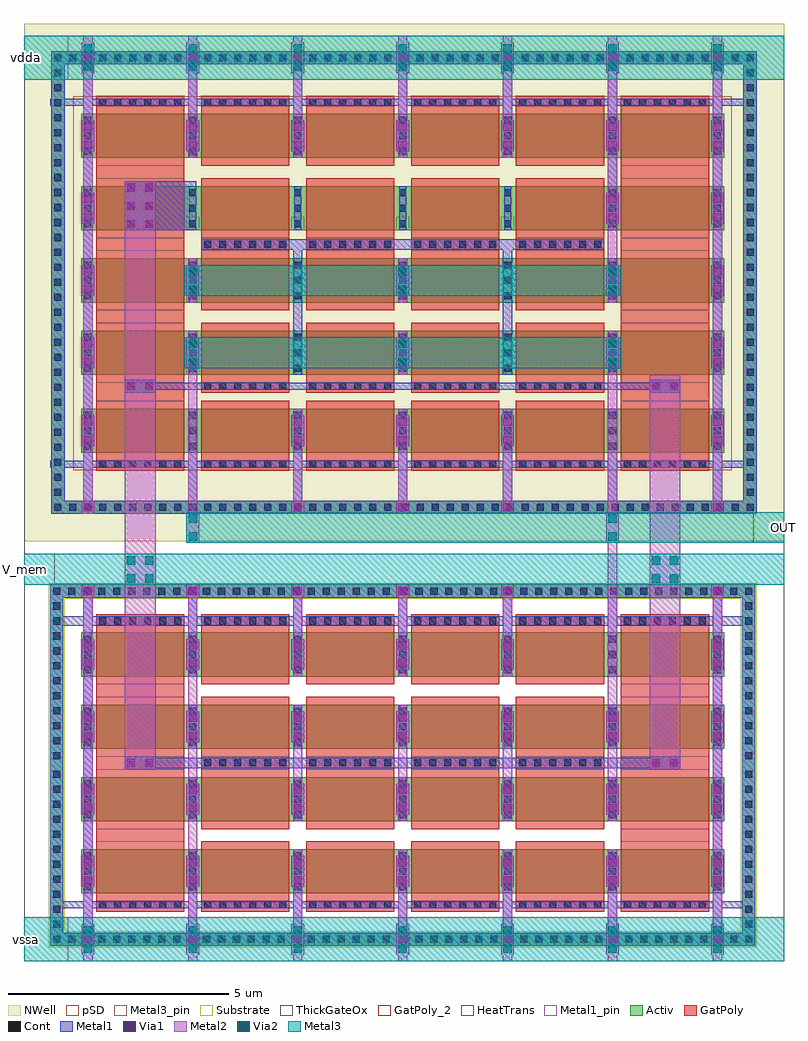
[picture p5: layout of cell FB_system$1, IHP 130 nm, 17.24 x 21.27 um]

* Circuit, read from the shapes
.subckt FB_system$1 OUT V_mem vdda vssa
XM1 vssa vssa vssa vssa sg13_hv_nmos w=1u l=2u m=14
XM2 n1 V_mem vssa vssa sg13_hv_nmos w=1u l=2u m=2
XM3 n2 V_mem n1 vssa sg13_hv_nmos w=1u l=2u m=2
XM4 n3 V_mem n2 vssa sg13_hv_nmos w=1u l=2u m=2
XM5 OUT V_mem n3 vssa sg13_hv_nmos w=1u l=2u m=2
XM6 vssa vssa OUT vssa sg13_hv_nmos w=1u l=2u m=2
XM7 vdda vdda vdda vdda sg13_hv_pmos w=1u l=2u m=15
XM8 OUT vdda vdda vdda sg13_hv_pmos w=1u l=2u m=2
XM9 V_mem vdda vdda vdda sg13_hv_pmos w=1u l=2u
XM10 n4 V_mem OUT vdda sg13_hv_pmos w=1u l=2u m=4
XM11 n4 n4 vdda vdda sg13_hv_pmos w=1u l=2u m=4
XM12 n5 n4 V_mem vdda sg13_hv_pmos w=1u l=2u
XM13 n6 n4 n5 vdda sg13_hv_pmos w=1u l=2u
XM14 n7 n4 n6 vdda sg13_hv_pmos w=1u l=2u
XM15 vdda n4 n7 vdda sg13_hv_pmos w=1u l=2u
.ends

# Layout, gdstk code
from math import pi, radians
import gdstk
lib = gdstk.Library(unit=1e-6, precision=1e-09)
def R(c, l, rs):  # rectangles x0, y0, x1, y1
    for r in rs: c.add(gdstk.rectangle(r[:2], r[2:], *l))
def A(c, l, x, y, w, h, nx, ny, dx, dy):  # array of equal rectangles
    R(c, l, [(x+i*dx, y+j*dy, x+i*dx+w, y+j*dy+h) for i in range(nx) for j in range(ny)])
def P(c, l, *ps):  # polygons
    for p in ps: c.add(gdstk.Polygon(p, *l))
Activ = (1, 0)
GatPoly = (5, 0)
GatPoly_2 = (5, 2)
Cont = (6, 0)
Metal1 = (8, 0)
Metal1_pin = (8, 2)
Metal2 = (10, 0)
pSD = (14, 0)
Via1 = (19, 0)
Via2 = (29, 0)
Metal3 = (30, 0)
Metal3_pin = (30, 2)
NWell = (31, 0)
Substrate = (40, 0)
ThickGateOx = (44, 0)
HeatTrans = (51, 0)

pmoshv_3 = lib.new_cell('pmosHV$3')
R(pmoshv_3, Activ, [(0,0,0.3,0.3), (0,0,2.68,1), (2.38,0,2.68,0.3)])
R(pmoshv_3, GatPoly, [(0.34,-0.18,2.34,1.18)])
R(pmoshv_3, GatPoly_2, [(0.34,-0.18,2.34,1.18)])
A(pmoshv_3, Cont, 0.07, 0.07, 0.16, 0.16, 1, 3, 0, 0.35)
A(pmoshv_3, Cont, 2.45, 0.07, 0.16, 0.16, 1, 3, 0, 0.35)
R(pmoshv_3, Metal1, [(0.07,0,0.23,1), (2.45,0,2.61,1)])
R(pmoshv_3, Metal1_pin, [(0.07,0,0.23,1), (2.45,0,2.61,1)])
R(pmoshv_3, pSD, [(-0.18,-0.4,2.86,1.4)])
R(pmoshv_3, NWell, [(-0.62,-0.62,3.3,1.62)])
R(pmoshv_3, Substrate, [(2.38,0,2.68,0.3)])
R(pmoshv_3, ThickGateOx, [(-0.62,-0.62,3.3,1.62)])
R(pmoshv_3, HeatTrans, [(0.34,-0.18,2.34,1.18)])
pmoshv_3.add(gdstk.Label('pmosHV', (1.34,0.5), layer=63, texttype=0))
pmoshv_3.add(gdstk.Label('pmos', (1.34,0.5), layer=51, texttype=0))

nmoshv_4 = lib.new_cell('nmosHV$4')
R(nmoshv_4, Activ, [(0,0,0.3,0.3), (0,0,2.68,1), (2.38,0,2.68,0.3)])
R(nmoshv_4, GatPoly, [(0.34,-0.18,2.34,1.18)])
R(nmoshv_4, GatPoly_2, [(0.34,-0.18,2.34,1.18)])
A(nmoshv_4, Cont, 0.07, 0.07, 0.16, 0.16, 1, 3, 0, 0.35)
A(nmoshv_4, Cont, 2.45, 0.07, 0.16, 0.16, 1, 3, 0, 0.35)
R(nmoshv_4, Metal1, [(0.07,0,0.23,1), (2.45,0,2.61,1)])
R(nmoshv_4, Metal1_pin, [(0.07,0,0.23,1), (2.45,0,2.61,1)])
R(nmoshv_4, ThickGateOx, [(-0.27,-0.52,2.95,1.52)])
R(nmoshv_4, HeatTrans, [(0.34,-0.18,2.34,1.18)])
nmoshv_4.add(gdstk.Label('nmosHV', (1.34,0.5), layer=63, texttype=0))
nmoshv_4.add(gdstk.Label('nmosHV', (1.34,0.5), layer=51, texttype=0))

pmoshv_4 = lib.new_cell('pmosHV$4')
A(pmoshv_4, Activ, 0, 0, 0.3, 0.3, 5, 1, 2.38, 0)
R(pmoshv_4, Activ, [(0,0,9.82,1)])
A(pmoshv_4, GatPoly, 0.34, -0.18, 2, 1.36, 4, 1, 2.38, 0)
R(pmoshv_4, GatPoly_2, [(0.34,-0.18,2.34,1.18)])
A(pmoshv_4, Cont, 0.07, 0.07, 0.16, 0.16, 5, 3, 2.38, 0.35)
A(pmoshv_4, Metal1, 0.07, 0, 0.16, 1, 5, 1, 2.38, 0)
R(pmoshv_4, Metal1_pin, [(0.07,0,0.23,1), (2.45,0,2.61,1)])
R(pmoshv_4, pSD, [(-0.18,-0.4,10,1.4)])
R(pmoshv_4, NWell, [(-0.62,-0.62,10.44,1.62)])
R(pmoshv_4, Substrate, [(9.52,0,9.82,0.3)])
R(pmoshv_4, ThickGateOx, [(-0.62,-0.62,10.44,1.62)])
A(pmoshv_4, HeatTrans, 0.34, -0.18, 2, 1.36, 4, 1, 2.38, 0)
pmoshv_4.add(gdstk.Label('pmosHV', (1.34,0.5), layer=63, texttype=0))
pmoshv_4.add(gdstk.Label('pmos', (1.34,0.5), layer=51, texttype=0))
pmoshv_4.add(gdstk.Label('pmos', (3.72,0.5), layer=51, texttype=0))
pmoshv_4.add(gdstk.Label('pmos', (6.1,0.5), layer=51, texttype=0))
pmoshv_4.add(gdstk.Label('pmos', (8.48,0.5), layer=51, texttype=0))

via_stack_3 = lib.new_cell('via_stack$3')
R(via_stack_3, Metal1, [(-0.145,-0.35,0.145,0.35)])
R(via_stack_3, Metal2, [(-0.145,-0.35,0.145,0.35)])
R(via_stack_3, Via1, [(-0.095,-0.3,0.095,-0.11), (-0.095,0.11,0.095,0.3)])

pmoshv_5 = lib.new_cell('pmosHV$5')
A(pmoshv_5, Activ, 0, 0, 0.3, 0.3, 7, 1, 2.38, 0)
R(pmoshv_5, Activ, [(0,0,14.58,1)])
A(pmoshv_5, GatPoly, 0.34, -0.18, 2, 1.36, 6, 1, 2.38, 0)
R(pmoshv_5, GatPoly_2, [(0.34,-0.18,2.34,1.18)])
A(pmoshv_5, Cont, 0.07, 0.07, 0.16, 0.16, 7, 3, 2.38, 0.35)
A(pmoshv_5, Metal1, 0.07, 0, 0.16, 1, 7, 1, 2.38, 0)
R(pmoshv_5, Metal1_pin, [(0.07,0,0.23,1), (2.45,0,2.61,1)])
R(pmoshv_5, pSD, [(-0.18,-0.4,14.76,1.4)])
R(pmoshv_5, NWell, [(-0.62,-0.62,15.2,1.62)])
R(pmoshv_5, Substrate, [(14.28,0,14.58,0.3)])
R(pmoshv_5, ThickGateOx, [(-0.62,-0.62,15.2,1.62)])
A(pmoshv_5, HeatTrans, 0.34, -0.18, 2, 1.36, 6, 1, 2.38, 0)
pmoshv_5.add(gdstk.Label('pmosHV', (1.34,0.5), layer=63, texttype=0))
pmoshv_5.add(gdstk.Label('pmos', (1.34,0.5), layer=51, texttype=0))
pmoshv_5.add(gdstk.Label('pmos', (3.72,0.5), layer=51, texttype=0))
pmoshv_5.add(gdstk.Label('pmos', (6.1,0.5), layer=51, texttype=0))
pmoshv_5.add(gdstk.Label('pmos', (8.48,0.5), layer=51, texttype=0))
pmoshv_5.add(gdstk.Label('pmos', (10.86,0.5), layer=51, texttype=0))
pmoshv_5.add(gdstk.Label('pmos', (13.24,0.5), layer=51, texttype=0))

nmoshv_5 = lib.new_cell('nmosHV$5')
A(nmoshv_5, Activ, 0, 0, 0.3, 0.3, 7, 1, 2.38, 0)
R(nmoshv_5, Activ, [(0,0,14.58,1)])
A(nmoshv_5, GatPoly, 0.34, -0.18, 2, 1.36, 6, 1, 2.38, 0)
R(nmoshv_5, GatPoly_2, [(0.34,-0.18,2.34,1.18)])
A(nmoshv_5, Cont, 0.07, 0.07, 0.16, 0.16, 7, 3, 2.38, 0.35)
A(nmoshv_5, Metal1, 0.07, 0, 0.16, 1, 7, 1, 2.38, 0)
R(nmoshv_5, Metal1_pin, [(0.07,0,0.23,1), (2.45,0,2.61,1)])
R(nmoshv_5, ThickGateOx, [(-0.27,-0.52,14.85,1.52)])
A(nmoshv_5, HeatTrans, 0.34, -0.18, 2, 1.36, 6, 1, 2.38, 0)
nmoshv_5.add(gdstk.Label('nmosHV', (1.34,0.5), layer=63, texttype=0))
nmoshv_5.add(gdstk.Label('nmosHV', (1.34,0.5), layer=51, texttype=0))
nmoshv_5.add(gdstk.Label('nmosHV', (3.72,0.5), layer=51, texttype=0))
nmoshv_5.add(gdstk.Label('nmosHV', (6.1,0.5), layer=51, texttype=0))
nmoshv_5.add(gdstk.Label('nmosHV', (8.48,0.5), layer=51, texttype=0))
nmoshv_5.add(gdstk.Label('nmosHV', (10.86,0.5), layer=51, texttype=0))
nmoshv_5.add(gdstk.Label('nmosHV', (13.24,0.5), layer=51, texttype=0))

via_stack = lib.new_cell('via_stack')
R(via_stack, Metal2, [(-0.145,-0.35,0.145,0.35)])
R(via_stack, Via2, [(-0.095,-0.3,0.095,-0.11), (-0.095,0.11,0.095,0.3)])
R(via_stack, Metal3, [(-0.145,-0.35,0.145,0.35)])

via_stack_1 = lib.new_cell('via_stack$1')
R(via_stack_1, Metal1, [(-0.145,-0.145,0.145,0.145)])
R(via_stack_1, Metal2, [(-0.145,-0.145,0.145,0.145)])
R(via_stack_1, Via1, [(-0.095,-0.095,0.095,0.095)])

guard_ring_2 = lib.new_cell('guard_ring$2')
R(guard_ring_2, Activ, [(-8,-4.95,-7.7,4.95), (7.7,-4.95,8,4.95), (-8,4.95,8,5.25)])
P(guard_ring_2, Activ, [(-8,-5.25),(-8,4.95),(-7.7,4.95),(-7.7,-4.95),(7.7,-4.95),(7.7,4.95),(-8,4.95),(-8,5.25),(8,5.25),(8,-5.25)])
A(guard_ring_2, Cont, -7.93, -5.18, 0.16, 0.16, 23, 2, 0.34, 10.2)
A(guard_ring_2, Cont, -0.05, -5.18, 0.16, 0.16, 24, 2, 0.34, 10.2)
A(guard_ring_2, Cont, -7.93, -4.84, 0.16, 0.16, 1, 29, 0, 0.34)
A(guard_ring_2, Cont, 7.77, -4.84, 0.16, 0.16, 1, 29, 0, 0.34)
R(guard_ring_2, Metal1, [(-8,-5.25,8,-4.95), (-8,-4.95,-7.7,4.95), (7.7,-4.95,8,4.95), (-8,4.95,8,5.25)])
R(guard_ring_2, NWell, [(-8.35,-5.6,8.35,5.6)])

guard_ring_3 = lib.new_cell('guard_ring$3')
R(guard_ring_3, Activ, [(-8,-3.8,-7.7,3.8), (7.7,-3.8,8,3.8), (-8,3.8,8,4.1)])
P(guard_ring_3, Activ, [(-8,-4.1),(-8,3.8),(-7.7,3.8),(-7.7,-3.8),(7.7,-3.8),(7.7,3.8),(-8,3.8),(-8,4.1),(8,4.1),(8,-4.1)])
A(guard_ring_3, Cont, -7.93, -4.03, 0.16, 0.16, 23, 2, 0.34, 7.9)
A(guard_ring_3, Cont, -0.05, -4.03, 0.16, 0.16, 24, 2, 0.34, 7.9)
A(guard_ring_3, Cont, -7.93, -3.69, 0.16, 0.16, 1, 11, 0, 0.34)
A(guard_ring_3, Cont, 7.77, -3.69, 0.16, 0.16, 1, 11, 0, 0.34)
A(guard_ring_3, Cont, -7.93, 0.13, 0.16, 0.16, 1, 11, 0, 0.34)
A(guard_ring_3, Cont, 7.77, 0.13, 0.16, 0.16, 1, 11, 0, 0.34)
R(guard_ring_3, Metal1, [(-8,-4.1,8,-3.8), (-8,-3.8,-7.7,3.8), (7.7,-3.8,8,3.8), (-8,3.8,8,4.1)])
R(guard_ring_3, pSD, [(-8.03,-3.77,-7.67,3.77), (7.67,-3.77,8.03,3.77), (-8.03,3.77,8.03,4.13)])
P(guard_ring_3, pSD, [(-8.03,-4.13),(-8.03,3.77),(-7.67,3.77),(-7.67,-3.77),(7.67,-3.77),(7.67,3.77),(-8.03,3.77),(-8.03,4.13),(8.03,4.13),(8.03,-4.13)])
R(guard_ring_3, Substrate, [(-8.03,-3.77,-7.67,3.77), (7.67,-3.77,8.03,3.77), (-8.03,3.77,8.03,4.13)])
P(guard_ring_3, Substrate, [(-8.03,-4.13),(-8.03,3.77),(-7.67,3.77),(-7.67,-3.77),(7.67,-3.77),(7.67,3.77),(-8.03,3.77),(-8.03,4.13),(8.03,4.13),(8.03,-4.13)])

via_stack_5 = lib.new_cell('via_stack$5')
R(via_stack_5, Metal1, [(-0.35,-0.145,0.35,0.145)])
R(via_stack_5, Metal2, [(-0.35,-0.145,0.35,0.145)])
R(via_stack_5, Via1, [(-0.3,-0.095,-0.11,0.095), (0.11,-0.095,0.3,0.095)])

via_stack_19_1 = lib.new_cell('via_stack$19$1')
R(via_stack_19_1, GatPoly, [(-1,-0.15,1,0.15)])
A(via_stack_19_1, Cont, -0.93, -0.08, 0.16, 0.16, 6, 1, 0.34, 0)
R(via_stack_19_1, Metal1, [(-0.98,-0.08,0.98,0.08)])

via_stack_21 = lib.new_cell('via_stack$21')
R(via_stack_21, Metal1, [(-0.35,-0.555,0.35,0.555)])
R(via_stack_21, Metal2, [(-0.35,-0.555,0.35,0.555)])
A(via_stack_21, Via1, -0.3, -0.505, 0.19, 0.19, 1, 3, 0, 0.41)
A(via_stack_21, Via1, 0.11, -0.505, 0.19, 0.19, 1, 3, 0, 0.41)

via_stack_32_1 = lib.new_cell('via_stack$32$1')
R(via_stack_32_1, Metal2, [(-0.35,-0.35,0.35,0.35)])
R(via_stack_32_1, Via2, [(-0.3,-0.3,-0.11,-0.11), (0.11,-0.3,0.3,-0.11), (-0.3,0.11,-0.11,0.3), (0.11,0.11,0.3,0.3)])
R(via_stack_32_1, Metal3, [(-0.35,-0.35,0.35,0.35)])

fb_system_1 = lib.new_cell('FB_system$1')
A(fb_system_1, GatPoly, 4.02, 2.5, 2, 3, 4, 2, 2.38, 11.765)
R(fb_system_1, GatPoly, [(1.64,0.86,3.64,7.14), (13.54,0.86,15.54,7.14), (1.64,10.625,3.64,19.135), (13.54,10.625,15.54,19.135)])
A(fb_system_1, Metal1, 1.345, 1.04, 0.21, 1, 7, 3, 2.38, 1.64)
A(fb_system_1, Metal1, 1.345, 5.96, 0.21, 1, 4, 1, 2.38, 0)
A(fb_system_1, Metal1, 6.105, 11.035, 0.21, 1, 3, 1, 2.38, 0)
A(fb_system_1, Metal1, 1.345, 12.805, 0.21, 1, 1, 3, 0, 1.64)
A(fb_system_1, Metal1, 15.625, 12.805, 0.21, 1, 1, 3, 0, 1.64)
A(fb_system_1, Metal1, 3.725, 14.445, 0.21, 1, 3, 1, 4.76, 0)
A(fb_system_1, Metal1, 1.345, 17.725, 0.21, 1, 7, 1, 2.38, 0)
R(fb_system_1, Metal1, [(8.485,5.96,8.695,6.96), (10.865,5.96,11.075,6.96), (10.865,5.96,11.075,6.96), (15.625,5.96,15.835,6.96), (15.625,5.96,15.835,6.96), (1.345,11.035,1.555,12.035), (15.625,11.035,15.835,12.035), (3.725,12.805,3.935,13.805), (8.485,12.805,8.695,13.805), (8.485,12.805,8.695,13.805), (13.245,12.805,13.455,13.805), (2.285,16.085,3.91,17.195), (13.245,16.085,13.455,17.085)])
A(fb_system_1, Metal2, 3.725, 14.445, 0.21, 1, 3, 1, 4.76, 0)
R(fb_system_1, Metal2, [(8.485,12.805,8.695,13.805)])
R(fb_system_1, Metal3_pin, [(0,-0.5,1,0.5), (0,8.04,0.7,8.74), (16.54,8.99,17.24,9.69), (0,19.5,1,20.5)])
R(fb_system_1, NWell, [(0,9.025,17.24,20.77)])
R(fb_system_1, ThickGateOx, [(0,-0.5,17.24,20.5)])
fb_system_1.add(gdstk.FlexPath([(2.285,4),(14.89,4)], 0.24, ends="flush", simple_path=True, layer=8, datatype=0))  # Metal1
fb_system_1.add(gdstk.FlexPath([(4.02,15.765),(13.16,15.765)], 0.24, ends="flush", simple_path=True, layer=8, datatype=0))  # Metal1
fb_system_1.add(gdstk.FlexPath([(2.285,12.545),(14.89,12.545)], 0.16, ends="flush", simple_path=True, layer=8, datatype=0))  # Metal1
fb_system_1.add(gdstk.FlexPath([(0.59,7.22),(16.59,7.22)], 0.21, ends="flush", simple_path=True, layer=8, datatype=0))  # Metal1
fb_system_1.add(gdstk.FlexPath([(0.59,0.78),(16.59,0.78)], 0.16, ends="flush", simple_path=True, layer=8, datatype=0))  # Metal1
fb_system_1.add(gdstk.FlexPath([(15.73,8.05),(15.73,5.96)], 0.21, ends="flush", simple_path=True, layer=8, datatype=0))  # Metal1
fb_system_1.add(gdstk.FlexPath([(3.83,5.96),(3.83,8.05)], 0.21, ends="flush", simple_path=True, layer=8, datatype=0))  # Metal1
fb_system_1.add(gdstk.FlexPath([(6.21,5.96),(6.21,8.05)], 0.21, ends="flush", simple_path=True, layer=8, datatype=0))  # Metal1
fb_system_1.add(gdstk.FlexPath([(8.59,5.96),(8.59,8.05)], 0.21, ends="flush", simple_path=True, layer=8, datatype=0))  # Metal1
fb_system_1.add(gdstk.FlexPath([(10.97,5.96),(10.97,8.05)], 0.21, ends="flush", simple_path=True, layer=8, datatype=0))  # Metal1
fb_system_1.add(gdstk.FlexPath([(1.45,2.04),(1.45,0)], 0.21, ends="flush", simple_path=True, layer=8, datatype=0))  # Metal1
fb_system_1.add(gdstk.FlexPath([(1.45,8.05),(1.45,-0.15)], 0.21, ends="flush", simple_path=True, layer=8, datatype=0))  # Metal1
fb_system_1.add(gdstk.FlexPath([(15.73,2.04),(15.73,0)], 0.21, ends="flush", simple_path=True, layer=8, datatype=0))  # Metal1
fb_system_1.add(gdstk.FlexPath([(3.83,0),(3.83,2.04)], 0.21, ends="flush", simple_path=True, layer=8, datatype=0))  # Metal1
fb_system_1.add(gdstk.FlexPath([(6.21,0),(6.21,2.04)], 0.21, ends="flush", simple_path=True, layer=8, datatype=0))  # Metal1
fb_system_1.add(gdstk.FlexPath([(8.59,0),(8.59,2.04)], 0.21, ends="flush", simple_path=True, layer=8, datatype=0))  # Metal1
fb_system_1.add(gdstk.FlexPath([(10.97,0),(10.97,2.04)], 0.21, ends="flush", simple_path=True, layer=8, datatype=0))  # Metal1
fb_system_1.add(gdstk.FlexPath([(13.35,0),(13.35,2.04)], 0.21, ends="flush", simple_path=True, layer=8, datatype=0))  # Metal1
fb_system_1.add(gdstk.FlexPath([(8.59,0),(8.59,2.04)], 0.21, ends="flush", simple_path=True, layer=8, datatype=0))  # Metal1
fb_system_1.add(gdstk.FlexPath([(6.21,0),(6.21,2.04)], 0.21, ends="flush", simple_path=True, layer=8, datatype=0))  # Metal1
fb_system_1.add(gdstk.FlexPath([(3.83,0),(3.83,2.04)], 0.21, ends="flush", simple_path=True, layer=8, datatype=0))  # Metal1
fb_system_1.add(gdstk.FlexPath([(8.59,5.96),(8.59,8.05)], 0.21, ends="flush", simple_path=True, layer=8, datatype=0))  # Metal1
fb_system_1.add(gdstk.FlexPath([(10.97,5.96),(10.97,8.05)], 0.21, ends="flush", simple_path=True, layer=8, datatype=0))  # Metal1
fb_system_1.add(gdstk.FlexPath([(13.35,5.96),(13.35,8.05)], 0.21, ends="flush", simple_path=True, layer=8, datatype=0))  # Metal1
fb_system_1.add(gdstk.FlexPath([(15.73,-0.15),(15.73,8.05)], 0.21, ends="flush", simple_path=True, layer=8, datatype=0))  # Metal1
fb_system_1.add(gdstk.FlexPath([(6.21,12.805),(6.21,15.885)], 0.21, ends="flush", simple_path=True, layer=8, datatype=0))  # Metal1
fb_system_1.add(gdstk.FlexPath([(10.97,12.805),(10.97,15.885)], 0.21, ends="flush", simple_path=True, layer=8, datatype=0))  # Metal1
fb_system_1.add(gdstk.FlexPath([(15.73,9.65),(15.73,20.15)], 0.21, ends="flush", simple_path=True, layer=8, datatype=0))  # Metal1
fb_system_1.add(gdstk.FlexPath([(1.45,9.65),(1.45,20.15)], 0.21, ends="flush", simple_path=True, layer=8, datatype=0))  # Metal1
fb_system_1.add(gdstk.FlexPath([(10.97,12.035),(10.97,9.65)], 0.21, ends="flush", simple_path=True, layer=8, datatype=0))  # Metal1
fb_system_1.add(gdstk.FlexPath([(8.59,12.035),(8.59,9.65)], 0.21, ends="flush", simple_path=True, layer=8, datatype=0))  # Metal1
fb_system_1.add(gdstk.FlexPath([(6.21,12.035),(6.21,9.65)], 0.21, ends="flush", simple_path=True, layer=8, datatype=0))  # Metal1
fb_system_1.add(gdstk.FlexPath([(3.83,12.035),(3.83,9.65)], 0.21, ends="flush", simple_path=True, layer=8, datatype=0))  # Metal1
fb_system_1.add(gdstk.FlexPath([(13.35,12.035),(13.35,9.65)], 0.21, ends="flush", simple_path=True, layer=8, datatype=0))  # Metal1
fb_system_1.add(gdstk.FlexPath([(3.83,17.725),(3.83,20.15)], 0.21, ends="flush", simple_path=True, layer=8, datatype=0))  # Metal1
fb_system_1.add(gdstk.FlexPath([(6.21,17.725),(6.21,20.15)], 0.21, ends="flush", simple_path=True, layer=8, datatype=0))  # Metal1
fb_system_1.add(gdstk.FlexPath([(8.59,17.725),(8.59,20.15)], 0.21, ends="flush", simple_path=True, layer=8, datatype=0))  # Metal1
fb_system_1.add(gdstk.FlexPath([(10.97,17.725),(10.97,20.15)], 0.21, ends="flush", simple_path=True, layer=8, datatype=0))  # Metal1
fb_system_1.add(gdstk.FlexPath([(13.35,16.085),(13.35,20.15)], 0.21, ends="flush", simple_path=True, layer=8, datatype=0))  # Metal1
fb_system_1.add(gdstk.FlexPath([(0.59,18.985),(16.59,18.985)], 0.16, ends="flush", simple_path=True, layer=8, datatype=0))  # Metal1
fb_system_1.add(gdstk.FlexPath([(0.59,10.775),(16.59,10.775)], 0.16, ends="flush", simple_path=True, layer=8, datatype=0))  # Metal1
fb_system_1.add(gdstk.FlexPath([(6.21,5.32),(6.21,2.68)], 0.21, ends="flush", simple_path=True, layer=10, datatype=0))  # Metal2
fb_system_1.add(gdstk.FlexPath([(3.83,5.32),(3.83,2.68)], 0.21, ends="flush", simple_path=True, layer=10, datatype=0))  # Metal2
fb_system_1.add(gdstk.FlexPath([(8.59,5.32),(8.59,2.68)], 0.21, ends="flush", simple_path=True, layer=10, datatype=0))  # Metal2
fb_system_1.add(gdstk.FlexPath([(10.97,5.32),(10.97,2.68)], 0.21, ends="flush", simple_path=True, layer=10, datatype=0))  # Metal2
fb_system_1.add(gdstk.FlexPath([(1.45,8.05),(1.45,-0.5)], 0.21, ends="flush", simple_path=True, layer=10, datatype=0))  # Metal2
fb_system_1.add(gdstk.FlexPath([(15.73,8.05),(15.73,-0.5)], 0.21, ends="flush", simple_path=True, layer=10, datatype=0))  # Metal2
fb_system_1.add(gdstk.FlexPath([(13.35,2.04),(13.35,-0.5)], 0.21, ends="flush", simple_path=True, layer=10, datatype=0))  # Metal2
fb_system_1.add(gdstk.FlexPath([(10.97,2.04),(10.97,-0.5)], 0.21, ends="flush", simple_path=True, layer=10, datatype=0))  # Metal2
fb_system_1.add(gdstk.FlexPath([(8.59,2.04),(8.59,-0.5)], 0.21, ends="flush", simple_path=True, layer=10, datatype=0))  # Metal2
fb_system_1.add(gdstk.FlexPath([(6.21,2.04),(6.21,-0.5)], 0.21, ends="flush", simple_path=True, layer=10, datatype=0))  # Metal2
fb_system_1.add(gdstk.FlexPath([(3.83,2.04),(3.83,-0.5)], 0.21, ends="flush", simple_path=True, layer=10, datatype=0))  # Metal2
fb_system_1.add(gdstk.FlexPath([(3.83,8.05),(3.83,-0.5)], 0.21, ends="flush", simple_path=True, layer=10, datatype=0))  # Metal2
fb_system_1.add(gdstk.FlexPath([(6.21,5.96),(6.21,8.05)], 0.21, ends="flush", simple_path=True, layer=10, datatype=0))  # Metal2
fb_system_1.add(gdstk.FlexPath([(8.59,5.96),(8.59,8.05)], 0.21, ends="flush", simple_path=True, layer=10, datatype=0))  # Metal2
fb_system_1.add(gdstk.FlexPath([(10.97,5.96),(10.97,8.05)], 0.21, ends="flush", simple_path=True, layer=10, datatype=0))  # Metal2
fb_system_1.add(gdstk.FlexPath([(13.35,13.805),(13.35,2.68)], 0.21, ends="flush", simple_path=True, layer=10, datatype=0))  # Metal2
fb_system_1.add(gdstk.FlexPath([(2.635,3.88),(2.635,17.195)], 0.7, ends="flush", simple_path=True, layer=10, datatype=0))  # Metal2
fb_system_1.add(gdstk.FlexPath([(14.54,3.88),(14.54,12.805)], 0.7, ends="flush", simple_path=True, layer=10, datatype=0))  # Metal2
fb_system_1.add(gdstk.FlexPath([(3.83,13.805),(3.83,8.99)], 0.21, ends="flush", simple_path=True, layer=10, datatype=0))  # Metal2
fb_system_1.add(gdstk.FlexPath([(3.83,17.725),(3.83,20.5)], 0.21, ends="flush", simple_path=True, layer=10, datatype=0))  # Metal2
fb_system_1.add(gdstk.FlexPath([(6.21,17.725),(6.21,20.5)], 0.21, ends="flush", simple_path=True, layer=10, datatype=0))  # Metal2
fb_system_1.add(gdstk.FlexPath([(8.59,17.725),(8.59,20.5)], 0.21, ends="flush", simple_path=True, layer=10, datatype=0))  # Metal2
fb_system_1.add(gdstk.FlexPath([(10.97,17.725),(10.97,20.5)], 0.21, ends="flush", simple_path=True, layer=10, datatype=0))  # Metal2
fb_system_1.add(gdstk.FlexPath([(15.73,9.65),(15.73,20.5)], 0.21, ends="flush", simple_path=True, layer=10, datatype=0))  # Metal2
fb_system_1.add(gdstk.FlexPath([(1.45,9.65),(1.45,20.5)], 0.21, ends="flush", simple_path=True, layer=10, datatype=0))  # Metal2
fb_system_1.add(gdstk.FlexPath([(10.97,12.035),(10.97,9.65)], 0.21, ends="flush", simple_path=True, layer=10, datatype=0))  # Metal2
fb_system_1.add(gdstk.FlexPath([(8.59,12.035),(8.59,9.65)], 0.21, ends="flush", simple_path=True, layer=10, datatype=0))  # Metal2
fb_system_1.add(gdstk.FlexPath([(6.21,12.035),(6.21,9.65)], 0.21, ends="flush", simple_path=True, layer=10, datatype=0))  # Metal2
fb_system_1.add(gdstk.FlexPath([(13.35,14.445),(13.35,20.5)], 0.21, ends="flush", simple_path=True, layer=10, datatype=0))  # Metal2
fb_system_1.add(gdstk.FlexPath([(17.24,8.39),(0,8.39)], 0.7, ends="flush", simple_path=True, layer=30, datatype=0))  # Metal3
fb_system_1.add(gdstk.FlexPath([(3.725,9.34),(17.24,9.34)], 0.7, ends="flush", simple_path=True, layer=30, datatype=0))  # Metal3
fb_system_1.add(gdstk.FlexPath([(3.64,14.945),(13.54,14.945)], 0.7, ends="flush", simple_path=True, layer=30, datatype=0))  # Metal3
fb_system_1.add(gdstk.FlexPath([(3.64,13.305),(13.54,13.305)], 0.7, ends="flush", simple_path=True, layer=30, datatype=0))  # Metal3
fb_system_1.add(gdstk.FlexPath([(0,0),(17.24,0)], 1, ends="flush", simple_path=True, layer=30, datatype=0))  # Metal3
fb_system_1.add(gdstk.FlexPath([(0,20),(17.24,20)], 1, ends="flush", simple_path=True, layer=30, datatype=0))  # Metal3
fb_system_1.add(gdstk.Reference(pmoshv_3, (6.06,16.085)))
fb_system_1.add(gdstk.Reference(pmoshv_3, (8.44,16.085)))
fb_system_1.add(gdstk.Reference(nmoshv_4, (6.06,4.32)))
fb_system_1.add(gdstk.Reference(nmoshv_4, (8.44,4.32)))
fb_system_1.add(gdstk.Reference(nmoshv_4, (6.06,2.68)))
fb_system_1.add(gdstk.Reference(nmoshv_4, (8.44,2.68)))
fb_system_1.add(gdstk.Reference(pmoshv_4, (3.68,12.805)))
fb_system_1.add(gdstk.Reference(via_stack_3, (8.59,3.18)))
fb_system_1.add(gdstk.Reference(via_stack_3, (8.59,4.82)))
fb_system_1.add(gdstk.Reference(pmoshv_5, (1.3,11.035)))
fb_system_1.add(gdstk.Reference(pmoshv_5, (1.3,17.725)))
fb_system_1.add(gdstk.Reference(pmoshv_4, (3.68,14.445)))
fb_system_1.add(gdstk.Reference(nmoshv_5, (1.3,5.96)))
fb_system_1.add(gdstk.Reference(nmoshv_5, (1.3,1.04)))
fb_system_1.add(gdstk.Reference(via_stack_3, (8.59,1.54)))
fb_system_1.add(gdstk.Reference(via_stack, (8.59,0)))
fb_system_1.add(gdstk.Reference(via_stack_1, (8.59,0), rotation=pi/2))
fb_system_1.add(gdstk.Reference(via_stack_3, (8.59,6.46)))
fb_system_1.add(gdstk.Reference(via_stack_1, (8.59,7.9), rotation=pi/2))
fb_system_1.add(gdstk.Reference(via_stack_3, (8.59,13.305)))
fb_system_1.add(gdstk.Reference(via_stack, (8.59,13.305)))
fb_system_1.add(gdstk.Reference(via_stack_3, (8.59,13.305)))
fb_system_1.add(gdstk.Reference(via_stack, (8.59,14.945)))
fb_system_1.add(gdstk.Reference(via_stack_3, (8.59,14.945)))
fb_system_1.add(gdstk.Reference(via_stack, (8.59,20)))
fb_system_1.add(gdstk.Reference(via_stack_1, (8.59,20), rotation=pi/2))
fb_system_1.add(gdstk.Reference(via_stack_3, (8.59,18.225)))
fb_system_1.add(gdstk.Reference(via_stack_3, (8.59,11.535)))
fb_system_1.add(gdstk.Reference(via_stack_1, (8.59,9.8), rotation=pi/2))
r = gdstk.Reference(guard_ring_2, (8.62,14.9)); r.repetition = gdstk.Repetition(1, 1, v1=(0,0), v2=(0,0)); fb_system_1.add(r)
r = gdstk.Reference(guard_ring_3, (8.59,3.95)); r.repetition = gdstk.Repetition(1, 1, v1=(0,0), v2=(0,0)); fb_system_1.add(r)
fb_system_1.add(gdstk.Reference(via_stack_5, (14.54,12.545)))
fb_system_1.add(gdstk.Reference(via_stack_19_1, (9.78,15.765)))
fb_system_1.add(gdstk.Reference(via_stack_3, (13.35,14.945)))
fb_system_1.add(gdstk.Reference(pmoshv_3, (10.82,16.085)))
fb_system_1.add(gdstk.Reference(via_stack, (13.35,14.945)))
fb_system_1.add(gdstk.Reference(pmoshv_3, (13.2,12.805)))
fb_system_1.add(gdstk.Reference(via_stack, (15.73,20)))
fb_system_1.add(gdstk.Reference(via_stack_1, (15.73,20), rotation=pi/2))
fb_system_1.add(gdstk.Reference(pmoshv_3, (13.2,14.445)))
fb_system_1.add(gdstk.Reference(pmoshv_3, (13.2,16.085)))
fb_system_1.add(gdstk.Reference(via_stack_19_1, (9.78,12.545)))
fb_system_1.add(gdstk.Reference(via_stack, (10.97,20)))
fb_system_1.add(gdstk.Reference(via_stack_1, (10.97,20), rotation=pi/2))
fb_system_1.add(gdstk.Reference(via_stack_3, (10.97,18.225)))
fb_system_1.add(gdstk.Reference(via_stack, (13.35,20)))
fb_system_1.add(gdstk.Reference(via_stack_1, (13.35,20), rotation=pi/2))
fb_system_1.add(gdstk.Reference(via_stack_3, (13.35,18.225)))
fb_system_1.add(gdstk.Reference(via_stack_3, (15.73,18.225)))
fb_system_1.add(gdstk.Reference(via_stack_3, (15.73,16.585)))
fb_system_1.add(gdstk.Reference(via_stack_3, (15.73,14.945)))
fb_system_1.add(gdstk.Reference(via_stack_3, (15.73,13.305)))
fb_system_1.add(gdstk.Reference(via_stack_3, (13.35,16.585)))
fb_system_1.add(gdstk.Reference(via_stack_3, (15.73,11.535)))
fb_system_1.add(gdstk.Reference(via_stack_3, (10.97,11.535)))
fb_system_1.add(gdstk.Reference(via_stack_3, (13.35,13.305)))
fb_system_1.add(gdstk.Reference(via_stack_19_1, (12.16,12.545)))
fb_system_1.add(gdstk.Reference(via_stack_19_1, (12.16,18.985)))
fb_system_1.add(gdstk.Reference(via_stack_19_1, (14.54,18.985)))
fb_system_1.add(gdstk.Reference(via_stack_19_1, (9.78,18.985)))
fb_system_1.add(gdstk.Reference(via_stack_19_1, (12.16,10.775)))
fb_system_1.add(gdstk.Reference(via_stack_19_1, (14.54,10.775)))
fb_system_1.add(gdstk.Reference(via_stack_19_1, (9.78,10.775)))
fb_system_1.add(gdstk.Reference(via_stack_19_1, (12.16,15.765)))
fb_system_1.add(gdstk.Reference(via_stack, (13.35,13.305)))
fb_system_1.add(gdstk.Reference(via_stack_3, (3.83,18.225)))
fb_system_1.add(gdstk.Reference(via_stack, (3.83,14.945)))
fb_system_1.add(gdstk.Reference(via_stack_19_1, (5.02,12.545)))
fb_system_1.add(gdstk.Reference(via_stack_3, (3.83,14.945)))
fb_system_1.add(gdstk.Reference(via_stack, (1.45,20)))
fb_system_1.add(gdstk.Reference(pmoshv_3, (1.3,12.805)))
fb_system_1.add(gdstk.Reference(via_stack_3, (3.83,13.305)))
fb_system_1.add(gdstk.Reference(pmoshv_3, (1.3,14.445)))
fb_system_1.add(gdstk.Reference(pmoshv_3, (3.68,16.085)))
fb_system_1.add(gdstk.Reference(via_stack_1, (1.45,20), rotation=pi/2))
fb_system_1.add(gdstk.Reference(via_stack, (1.45,20)))
fb_system_1.add(gdstk.Reference(via_stack_1, (1.45,20), rotation=pi/2))
fb_system_1.add(gdstk.Reference(via_stack_3, (1.45,18.225)))
fb_system_1.add(gdstk.Reference(via_stack_3, (1.45,16.585)))
fb_system_1.add(gdstk.Reference(via_stack_3, (1.45,14.945)))
fb_system_1.add(gdstk.Reference(via_stack_3, (1.45,13.305)))
fb_system_1.add(gdstk.Reference(via_stack_3, (1.45,11.535)))
fb_system_1.add(gdstk.Reference(via_stack, (3.83,13.305)))
fb_system_1.add(gdstk.Reference(via_stack, (6.21,20)))
fb_system_1.add(gdstk.Reference(via_stack_1, (6.21,20), rotation=pi/2))
fb_system_1.add(gdstk.Reference(via_stack_3, (6.21,18.225)))
fb_system_1.add(gdstk.Reference(via_stack_3, (6.21,11.535)))
fb_system_1.add(gdstk.Reference(pmoshv_3, (1.3,16.085)))
fb_system_1.add(gdstk.Reference(via_stack_19_1, (7.4,12.545)))
fb_system_1.add(gdstk.Reference(via_stack_19_1, (7.4,18.985)))
fb_system_1.add(gdstk.Reference(via_stack_5, (2.635,12.545)))
fb_system_1.add(gdstk.Reference(via_stack_19_1, (2.64,18.985)))
fb_system_1.add(gdstk.Reference(via_stack_19_1, (5.02,18.985)))
fb_system_1.add(gdstk.Reference(via_stack_19_1, (7.4,15.765)))
fb_system_1.add(gdstk.Reference(via_stack_19_1, (5.02,15.765)))
fb_system_1.add(gdstk.Reference(via_stack_19_1, (7.4,10.775)))
fb_system_1.add(gdstk.Reference(via_stack, (3.83,20)))
fb_system_1.add(gdstk.Reference(via_stack_19_1, (2.64,10.775)))
fb_system_1.add(gdstk.Reference(via_stack_19_1, (5.02,10.775)))
fb_system_1.add(gdstk.Reference(via_stack_1, (3.83,20), rotation=pi/2))
fb_system_1.add(gdstk.Reference(via_stack_21, (2.635,16.64)))
fb_system_1.add(gdstk.Reference(via_stack_3, (3.83,4.82)))
fb_system_1.add(gdstk.Reference(via_stack_19_1, (5.02,4)))
fb_system_1.add(gdstk.Reference(via_stack_5, (2.635,4)))
fb_system_1.add(gdstk.Reference(via_stack_32_1, (2.635,8.39)))
fb_system_1.add(gdstk.Reference(via_stack, (3.83,9.34)))
fb_system_1.add(gdstk.Reference(via_stack_3, (3.83,6.46)))
fb_system_1.add(gdstk.Reference(via_stack_3, (1.45,4.82)))
fb_system_1.add(gdstk.Reference(nmoshv_4, (3.68,2.68)))
fb_system_1.add(gdstk.Reference(via_stack_19_1, (5.02,7.22)))
fb_system_1.add(gdstk.Reference(via_stack_19_1, (2.64,7.22)))
fb_system_1.add(gdstk.Reference(via_stack_19_1, (7.4,7.22)))
fb_system_1.add(gdstk.Reference(via_stack_19_1, (5.02,0.78)))
fb_system_1.add(gdstk.Reference(via_stack_19_1, (2.64,0.78)))
fb_system_1.add(gdstk.Reference(via_stack_1, (1.45,9.8), rotation=pi/2))
fb_system_1.add(gdstk.Reference(via_stack_19_1, (7.4,0.78)))
fb_system_1.add(gdstk.Reference(via_stack_3, (1.45,3.18)))
fb_system_1.add(gdstk.Reference(via_stack_3, (1.45,1.54)))
fb_system_1.add(gdstk.Reference(nmoshv_4, (3.68,4.32)))
fb_system_1.add(gdstk.Reference(via_stack_3, (1.45,6.46)))
fb_system_1.add(gdstk.Reference(nmoshv_4, (1.3,2.68)))
fb_system_1.add(gdstk.Reference(nmoshv_4, (1.3,4.32)))
fb_system_1.add(gdstk.Reference(via_stack, (1.45,0)))
fb_system_1.add(gdstk.Reference(via_stack_1, (1.45,0), rotation=pi/2))
fb_system_1.add(gdstk.Reference(via_stack_1, (6.21,9.8), rotation=pi/2))
fb_system_1.add(gdstk.Reference(via_stack_19_1, (7.4,4)))
fb_system_1.add(gdstk.Reference(via_stack_3, (6.21,3.18)))
fb_system_1.add(gdstk.Reference(via_stack_3, (6.21,4.82)))
fb_system_1.add(gdstk.Reference(via_stack_3, (3.83,3.18)))
fb_system_1.add(gdstk.Reference(via_stack_3, (6.21,1.54)))
fb_system_1.add(gdstk.Reference(via_stack, (6.21,0)))
fb_system_1.add(gdstk.Reference(via_stack_1, (6.21,0), rotation=pi/2))
fb_system_1.add(gdstk.Reference(via_stack_3, (3.83,1.54)))
fb_system_1.add(gdstk.Reference(via_stack, (3.83,0)))
fb_system_1.add(gdstk.Reference(via_stack_1, (3.83,0), rotation=pi/2))
fb_system_1.add(gdstk.Reference(via_stack_1, (3.83,7.9), rotation=pi/2))
fb_system_1.add(gdstk.Reference(via_stack_1, (1.45,7.9), rotation=pi/2))
fb_system_1.add(gdstk.Reference(via_stack_3, (6.21,6.46)))
fb_system_1.add(gdstk.Reference(via_stack_1, (6.21,7.9), rotation=pi/2))
fb_system_1.add(gdstk.Reference(via_stack_19_1, (9.78,7.22)))
fb_system_1.add(gdstk.Reference(via_stack, (15.73,0)))
fb_system_1.add(gdstk.Reference(nmoshv_4, (10.82,4.32)))
fb_system_1.add(gdstk.Reference(via_stack_1, (15.73,0), rotation=pi/2))
fb_system_1.add(gdstk.Reference(via_stack_3, (13.35,1.54)))
fb_system_1.add(gdstk.Reference(via_stack_19_1, (14.54,7.22)))
fb_system_1.add(gdstk.Reference(via_stack, (13.35,0)))
fb_system_1.add(gdstk.Reference(via_stack_1, (13.35,0), rotation=pi/2))
fb_system_1.add(gdstk.Reference(via_stack_3, (10.97,1.54)))
fb_system_1.add(gdstk.Reference(via_stack, (10.97,0)))
fb_system_1.add(gdstk.Reference(via_stack_1, (10.97,0), rotation=pi/2))
fb_system_1.add(gdstk.Reference(via_stack_19_1, (12.16,7.22)))
fb_system_1.add(gdstk.Reference(via_stack_19_1, (12.16,4)))
fb_system_1.add(gdstk.Reference(via_stack_3, (10.97,3.18)))
fb_system_1.add(gdstk.Reference(via_stack_19_1, (9.78,0.78)))
fb_system_1.add(gdstk.Reference(via_stack_3, (10.97,4.82)))
fb_system_1.add(gdstk.Reference(via_stack_1, (15.73,9.8), rotation=pi/2))
fb_system_1.add(gdstk.Reference(via_stack_19_1, (14.54,0.78)))
fb_system_1.add(gdstk.Reference(via_stack_1, (10.97,9.8), rotation=pi/2))
fb_system_1.add(gdstk.Reference(via_stack_19_1, (12.16,0.78)))
fb_system_1.add(gdstk.Reference(via_stack_3, (13.35,3.18)))
fb_system_1.add(gdstk.Reference(via_stack_3, (13.35,4.82)))
fb_system_1.add(gdstk.Reference(via_stack_3, (15.73,4.82)))
fb_system_1.add(gdstk.Reference(via_stack_3, (15.73,3.18)))
fb_system_1.add(gdstk.Reference(via_stack_3, (15.73,1.54)))
fb_system_1.add(gdstk.Reference(via_stack_3, (15.73,6.46)))
fb_system_1.add(gdstk.Reference(nmoshv_4, (10.82,2.68)))
fb_system_1.add(gdstk.Reference(via_stack_19_1, (9.78,4)))
fb_system_1.add(gdstk.Reference(via_stack_3, (10.97,6.46)))
fb_system_1.add(gdstk.Reference(via_stack_1, (10.97,7.9), rotation=pi/2))
fb_system_1.add(gdstk.Reference(nmoshv_4, (13.2,2.68)))
fb_system_1.add(gdstk.Reference(via_stack_5, (14.54,4)))
fb_system_1.add(gdstk.Reference(via_stack_3, (15.73,6.46)))
fb_system_1.add(gdstk.Reference(via_stack_1, (15.73,7.9), rotation=pi/2))
fb_system_1.add(gdstk.Reference(nmoshv_4, (13.2,4.32)))
fb_system_1.add(gdstk.Reference(via_stack_32_1, (14.54,8.39)))
fb_system_1.add(gdstk.Reference(via_stack, (13.35,9.34)))
fb_system_1.add(gdstk.Label('vdda', (0.035,20), layer=30, texttype=25))
fb_system_1.add(gdstk.Label('vssa', (0.035,0), layer=30, texttype=25))
fb_system_1.add(gdstk.Label('OUT', (17.22,9.34), layer=30, texttype=25))
fb_system_1.add(gdstk.Label('V_mem', (0.025,8.39), layer=30, texttype=25))

lib.write_gds('FB_system_1.gds')
